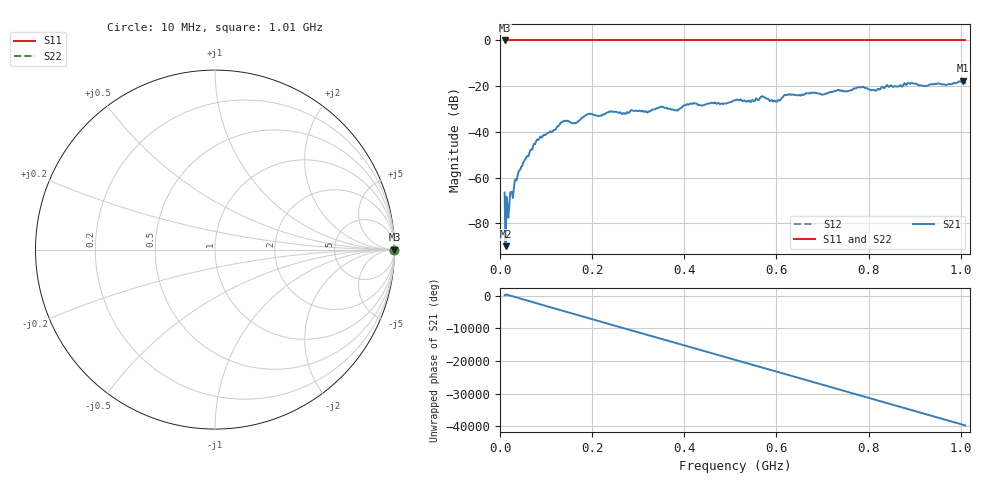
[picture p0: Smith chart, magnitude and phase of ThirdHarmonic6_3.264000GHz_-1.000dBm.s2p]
! 8/17/2025 10:04:55 AM
! C:\ANRITSUVNA\TEMP\TEMP.S2P
! CHANNEL.1
! TR.MEASUREMENT
! RAW.DATA
! RF.CORRECTION.OFF
! AVERAGING.OFF
! IF.BANDWIDTH: 5KHZ
! SWEEPTYPE:  FREQ.SWEEP(Linear)
! Reference Plane Port Info
! PORT:  PORT1  PORT2
! DISTANCE:  0  m  0  m
! TIME:  0  s  0  s
! PHASE.OFFSET:  0  deg.  0  deg.
! LOSS:  0  dB  0  dB
! REF.LOSS:  0  dB  0  dB
! REF.FREQ:  0  Hz  0  Hz
! Power Info
! POWER:  -20  dBm  -20  dBm
! EFF.POWER:  -20  dBm  -20  dBm
! SOURCE.ATTEN:  0  dB  0  dB
! TEST.ATTEN:  0  dB  0  dB
# GHZ S RI R 50.0
! FREQ.GHZ  S11RE  S11IM  S21RE  S21IM  S12RE  S12IM  S22RE  S22IM
!; PortSelection: Port_12
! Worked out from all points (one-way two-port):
!   501 points, 10 MHz to 1.01 GHz, reference 50 ohm
!   highest |S21| = -17.52 dB at 1.004 GHz (marker M1); lowest = -90.0 dB at 12 MHz (marker M2)
!   lowest |S11| = 0.0 dB at 10 MHz (marker M3)
!   |S11| at or under -10 dB: nowhere
!   |S22| runs from 0.0 to 0.0 dB; largest |S21 - S12| = 1.1
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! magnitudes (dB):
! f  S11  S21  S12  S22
! 10 MHz  0.0  -66.5  0.0  0.0
! 12 MHz  0.0  -90.0  0.0  0.0
! 16 MHz  0.0  -72.2  0.0  0.0
! 18 MHz  0.0  -77.6  0.0  0.0
! 42 MHz  0.0  -56.8  0.0  0.0
! 84 MHz  0.0  -43.3  0.0  0.0
! 136 MHz  0.0  -35.6  0.0  0.0
! 162 MHz  0.0  -36.2  0.0  0.0
! 178 MHz  0.0  -33.7  0.0  0.0
! 194 MHz  0.0  -32.0  0.0  0.0
! 322 MHz  0.0  -31.2  0.0  0.0
! 344 MHz  0.0  -29.6  0.0  0.0
! 382 MHz  0.0  -30.5  0.0  0.0
! 416 MHz  0.0  -27.8  0.0  0.0
! 510 MHz  0.0  -26.1  0.0  0.0
! 570 MHz  0.0  -24.4  0.0  0.0
! 598 MHz  0.0  -26.7  0.0  0.0
! 620 MHz  0.0  -23.9  0.0  0.0
! 678 MHz  0.0  -22.9  0.0  0.0
! 844 MHz  0.0  -20.3  0.0  0.0
! 1.004 GHz  0.0  -17.5  0.0  0.0
! 1.01 GHz  0.0  -18.5  0.0  0.0
